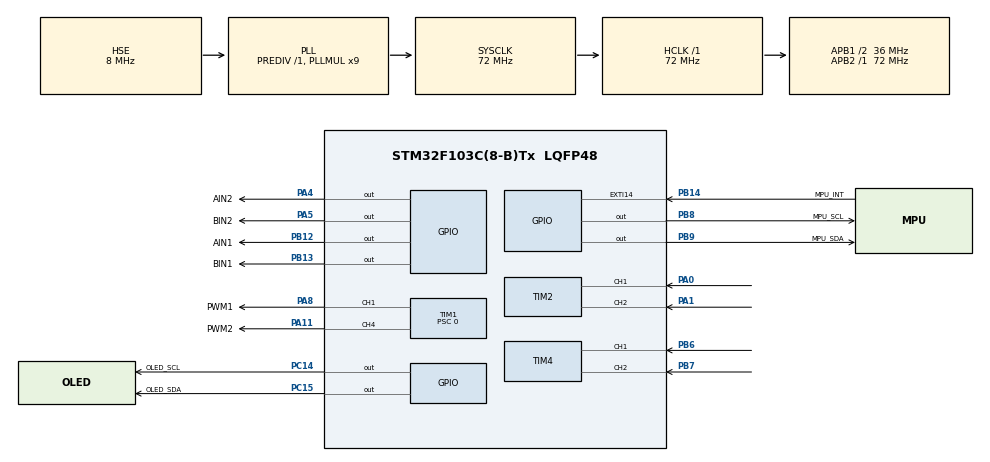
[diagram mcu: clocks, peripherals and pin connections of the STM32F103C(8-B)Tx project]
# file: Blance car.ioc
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Mcu.Family=STM32F1
Mcu.Name=STM32F103C(8-B)Tx
Mcu.Package=LQFP48
NVIC.EXTI15_10_IRQn=true\:0\:0\:false\:false\:true\:true\:true\:true
NVIC.PriorityGroup=NVIC_PRIORITYGROUP_4
PA0-WKUP.Signal=S_TIM2_CH1_ETR
PA1.Signal=S_TIM2_CH2
PA13.Mode=Serial_Wire
PA13.Signal=SYS_JTMS-SWDIO
PA14.Mode=Serial_Wire
PA14.Signal=SYS_JTCK-SWCLK
PA4.GPIO_Label=AIN2
PA4.Signal=GPIO_Output
PA5.GPIO_Label=BIN2
PA5.Signal=GPIO_Output
PA8.GPIO_Label=PWM1
PA8.Signal=S_TIM1_CH1
PA11.GPIO_Label=PWM2
PA11.Signal=S_TIM1_CH4
PB12.GPIO_Label=AIN1
PB12.Signal=GPIO_Output
PB13.GPIO_Label=BIN1
PB13.Signal=GPIO_Output
PB14.GPIO_Label=MPU_INT
PB14.GPIO_ModeDefaultEXTI=GPIO_MODE_IT_FALLING
PB14.GPIO_PuPd=GPIO_PULLUP
PB14.Signal=GPXTI14
PB6.Signal=S_TIM4_CH1
PB7.Signal=S_TIM4_CH2
PB8.GPIO_Label=MPU_SCL
PB8.GPIO_ModeDefaultOutputPP=GPIO_MODE_OUTPUT_OD
PB8.GPIO_PuPd=GPIO_PULLUP
PB8.GPIO_Speed=GPIO_SPEED_FREQ_HIGH
PB8.PinState=GPIO_PIN_SET
PB8.Signal=GPIO_Output
PB9.GPIO_Label=MPU_SDA
PB9.GPIO_ModeDefaultOutputPP=GPIO_MODE_OUTPUT_OD
PB9.GPIO_PuPd=GPIO_PULLUP
PB9.GPIO_Speed=GPIO_SPEED_FREQ_HIGH
PB9.PinState=GPIO_PIN_SET
PB9.Signal=GPIO_Output
PC14-OSC32_IN.GPIO_Label=OLED_SCL
PC14-OSC32_IN.GPIO_ModeDefaultOutputPP=GPIO_MODE_OUTPUT_OD
PC14-OSC32_IN.GPIO_PuPd=GPIO_NOPULL
PC14-OSC32_IN.GPIO_Speed=GPIO_SPEED_FREQ_LOW
PC14-OSC32_IN.PinState=GPIO_PIN_SET
PC14-OSC32_IN.Signal=GPIO_Output
PC15-OSC32_OUT.GPIO_Label=OLED_SDA
PC15-OSC32_OUT.GPIO_ModeDefaultOutputPP=GPIO_MODE_OUTPUT_OD
PC15-OSC32_OUT.GPIO_PuPd=GPIO_NOPULL
PC15-OSC32_OUT.GPIO_Speed=GPIO_SPEED_FREQ_LOW
PC15-OSC32_OUT.PinState=GPIO_PIN_SET
PC15-OSC32_OUT.Signal=GPIO_Output
PD0-OSC_IN.Mode=HSE-External-Oscillator
PD0-OSC_IN.Signal=RCC_OSC_IN
PD1-OSC_OUT.Mode=HSE-External-Oscillator
PD1-OSC_OUT.Signal=RCC_OSC_OUT
ProjectManager.HeapSize=0x200
ProjectManager.StackSize=0x400
ProjectManager.TargetToolchain=MDK-ARM V5.32
RCC.AHBFreq_Value=72000000
RCC.APB1CLKDivider=RCC_HCLK_DIV2
RCC.APB1Freq_Value=36000000
RCC.APB1TimFreq_Value=72000000
RCC.APB2Freq_Value=72000000
RCC.APB2TimFreq_Value=72000000
RCC.HCLKFreq_Value=72000000
RCC.PLLMUL=RCC_PLL_MUL9
RCC.PLLSourceVirtual=RCC_PLLSOURCE_HSE
RCC.SYSCLKFreq_VALUE=72000000
RCC.SYSCLKSource=RCC_SYSCLKSOURCE_PLLCLK
RCC.USBFreq_Value=72000000
SH.S_TIM1_CH1.0=TIM1_CH1,PWM Generation1 CH1
SH.S_TIM1_CH4.0=TIM1_CH4,PWM Generation4 CH4
SH.S_TIM2_CH1_ETR.0=TIM2_CH1,Encoder_Interface
SH.S_TIM2_CH2.0=TIM2_CH2,Encoder_Interface
SH.S_TIM4_CH1.0=TIM4_CH1,Encoder_Interface
SH.S_TIM4_CH2.0=TIM4_CH2,Encoder_Interface
TIM2.EncoderMode=TIM_ENCODERMODE_TI12
TIM1.Channel-PWM\ Generation1\ CH1=TIM_CHANNEL_1
TIM1.Channel-PWM\ Generation4\ CH4=TIM_CHANNEL_4
TIM1.Period=7199
TIM1.Prescaler=0
TIM4.EncoderMode=TIM_ENCODERMODE_TI12
VP_TIM1_VS_ClockSourceINT.Mode=Internal
board=custom

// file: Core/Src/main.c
/* USER CODE BEGIN Header */
/**
  ******************************************************************************
  * @file           : main.c
  * @brief          : Main program body
  ******************************************************************************
  * @attention
  *
  * Copyright (c) 2024 STMicroelectronics.
  * All rights reserved.
  *
  * This software is licensed under terms that can be found in the LICENSE file
  * in the root directory of this software component.
  * If no LICENSE file comes with this software, it is provided AS-IS.
  *
  ******************************************************************************
  */
/* USER CODE END Header */
#include "main.h"
#include "tim.h"
#include "gpio.h"

/* USER CODE BEGIN Includes */
#include "oled.h"
#include "IIC.h"
#include "inv_mpu.h"
#include "inv_mpu_dmp_motion_driver.h"
#include "mpu6050.h"
#include "stdio.h"
#include "motor.h"
#include "encoder.h"
#include "pid.h"
#include "bluetooth.h"
#include "camera_uart.h"
/* USER CODE END Includes */

/* USER CODE BEGIN PV */
/* 传感器、编码器和 DMP 状态变量由其他模块定义，这里只引用。 */
extern int Encoder_L,Encoder_R;
extern float pitch,roll,yaw;//陀螺仪
extern short gyrox,gyroy,gyroz;
extern short aacx,aacy,aacz;
extern volatile uint8_t dmp_read_error;
extern volatile unsigned char dmp_fw_error;
extern volatile unsigned short dmp_fw_error_addr;
extern volatile unsigned char dmp_fw_expected;
extern volatile unsigned char dmp_fw_actual;
extern volatile unsigned char mpu_init_error_stage;

/* OLED 显示缓冲区及 MPU6050 初始化结果。 */
uint8_t display_buf[32];
static volatile uint8_t control_ready;

uint32_t sys_tick;
extern uint8_t rx_buf[2];

//int Encoder_L,Encoder_R;
/* USER CODE END PV */

void SystemClock_Config(void);
/* USER CODE BEGIN PFP */
void Read(void);
/* USER CODE END PFP */

/* USER CODE BEGIN 0 */

static float OLED_LimitPidComponent(float value, float limit)
{
    /* 限制显示数值，避免异常 PID 参数撑满 OLED 显示区域。 */
    if (value > limit)
        return limit;
    if (value < -limit)
        return -limit;
    return value;
}

static void OLED_FormatPidComponent(char *text, float value, uint8_t decimals)
{
    int length;

    /* 每个数值占 6 个字符；较大数值减少小数位以保留符号和整数。 */
    while (1)
    {
        length = snprintf(text, 7U, "%6.*f", (int)decimals, value);
        if (length <= 6 || decimals == 0U)
            break;
        decimals--;
    }
}

static void OLED_ShowSmallLine(uint8_t page)
{
    uint8_t i = 0U;

    /* 6x8 字体每行显示 21 个字符，补空格覆盖上次的长数值。 */
    while (i < 21U && display_buf[i] != '\0')
        i++;
    while (i < 21U)
        display_buf[i++] = ' ';
    display_buf[21] = '\0';
    OLED_ShowString(0, page, display_buf, 8);
}

/* USER CODE END 0 */

int main(void)
{
    uint8_t mpu6050_Error_Return;
    char pid_p_text[7], pid_di_text[7];
    uint32_t oled_refresh_tick;

    /* MCU Configuration--------------------------------------------------------*/

    /* HAL 初始化：复位外设、配置 Flash 接口并启动 SysTick。 */
    HAL_Init();

    /* 配置系统时钟：外部高速时钟经 PLL 后得到 72 MHz 系统时钟。 */
    SystemClock_Config();

    /* 初始化 GPIO、PWM 定时器和左右轮编码器定时器。 */
    MX_GPIO_Init();
    MX_TIM2_Init();
    MX_TIM1_Init();
    MX_TIM4_Init();
    /* USER CODE BEGIN 2 */
    /* Keep communication independent of OLED/MPU initialization results. */
    if (Bluetooth_Init() != HAL_OK)
        Error_Handler();
    if (Camera_Init() != HAL_OK)
        Error_Handler();

    /* 初始化 OLED，并清屏准备显示运行状态。 */
    OLED_Init();
    OLED_Clear();

    /* 初始化 MPU6050，读取设备信息和校准/版本数据用于诊断。 */
    /* This call initializes I2C and the selected MPU before enabling DMP. */
    mpu6050_Error_Return = mpu_dmp_init();
    if (mpu6050_Error_Return != 0U)
    {
        Load(0, 0);
        OLED_Clear();
        snprintf((char *)display_buf, sizeof(display_buf), "MPU ERR:%u", mpu6050_Error_Return);
        OLED_ShowSmallLine(0);
        snprintf((char *)display_buf, sizeof(display_buf), "STAGE:%u", mpu_init_error_stage);
        OLED_ShowSmallLine(1);

        /* Do not start motor PWM without valid attitude feedback. */
        while (1)
            Bluetooth_Delay(100U);
    }

    /* 启动电机 PWM 和左右轮编码器采集。 */
    HAL_TIM_PWM_Start(&htim1,TIM_CHANNEL_1);
    HAL_TIM_PWM_Start(&htim1,TIM_CHANNEL_4);
    HAL_TIM_Encoder_Start(&htim2,TIM_CHANNEL_ALL);
    HAL_TIM_Encoder_Start(&htim4,TIM_CHANNEL_ALL);
    /* 上电时保持电机停止，避免初始化完成瞬间误动作。 */
    Load(0,0);
    control_ready = 1U;
    OLED_Clear();

    /* USER CODE END 2 */

    oled_refresh_tick = HAL_GetTick() - 100U;

    /* Infinite loop */
    /* USER CODE BEGIN WHILE */
    while (1)
    {
        Bluetooth_Process();
        /* Schedule at most 10 display frames/s; keep servicing Bluetooth while idle. */
        if (HAL_GetTick() - oled_refresh_tick < 100U)
        {
            HAL_Delay(1U);
            continue;
        }
        oled_refresh_tick = HAL_GetTick();
        /* 小字体显示原有 PID 实时分量、倾角和左右编码器计数。 */
        OLED_FormatPidComponent(pid_p_text,
                OLED_LimitPidComponent(Vertical_Kp_Component, 9999.9f), 1);
        OLED_FormatPidComponent(pid_di_text,
                OLED_LimitPidComponent(Vertical_Kd_Component, 9999.9f), 1);
        snprintf((char *)display_buf, sizeof(display_buf), "ver P:%s D:%s",
                pid_p_text, pid_di_text);
        OLED_ShowSmallLine(0);

        Bluetooth_Process();

        OLED_FormatPidComponent(pid_p_text,
                OLED_LimitPidComponent(Velocity_Kp_Component, 999.99f), 3);
        OLED_FormatPidComponent(pid_di_text,
                OLED_LimitPidComponent(Velocity_Ki_Component, 999.99f), 3);
        snprintf((char *)display_buf, sizeof(display_buf), "vel P:%s I:%s",
                pid_p_text, pid_di_text);
        OLED_ShowSmallLine(1);
        Bluetooth_Process();
        snprintf((char *)display_buf, sizeof(display_buf), "pitch:%.2f", pitch);
        OLED_ShowSmallLine(2);
        Bluetooth_Process();

        snprintf((char *)display_buf, sizeof(display_buf), "EL:%6d ER:%6d", Encoder_L, Encoder_R);
        OLED_ShowSmallLine(3);
        Bluetooth_Process();
        snprintf((char *)display_buf, sizeof(display_buf), "Turn:%5d GZ:%6d", Turn_out, gyroz);
        OLED_ShowSmallLine(4);
        Bluetooth_Process();
        snprintf((char *)display_buf, sizeof(display_buf), "%s",
                tilt_stop_latched ? "TILT STOP:RESET" : "Tilt:OK");
        OLED_ShowSmallLine(5);
        Bluetooth_Process();
        snprintf((char *)display_buf, sizeof(display_buf), "CAM E:%4d V:%u M:%u",
                Camera_Error, Camera_Valid, Camera_Enabled);
        OLED_ShowSmallLine(6);
        Bluetooth_Process();
        snprintf((char *)display_buf, sizeof(display_buf), "CAM F:%lu B:%lu",
                (unsigned long)Camera_FrameCount, (unsigned long)Camera_BadFrames);
        OLED_ShowSmallLine(7);

        /* 实际平衡控制仍由 MPU 外部中断回调触发。 */

//        sprintf((char *)display_buf,
//                "D:%u C:%u E:%u ",
//                (unsigned int)mpu6050_Error_Return,
//                (unsigned int)mpu_init_error_stage,
//                (unsigned int)dmp_fw_error);
//        OLED_ShowString(0, 4, display_buf, 16);

//        sprintf((char *)display_buf,
//                "A:%04X %02X/%02X ",
//                (unsigned int)dmp_fw_error_addr,
//                (unsigned int)dmp_fw_expected,
//                (unsigned int)dmp_fw_actual);
//        OLED_ShowString(0, 6, display_buf, 16);

//        sprintf((char *)display_buf, "I:%u R:%u      ",
//                (unsigned int)mpu6050_Error_Return,
//                (unsigned int)dmp_read_error);
//        OLED_ShowString(0,0,display_buf,16);

//        sprintf((char *)display_buf,"P:%7.2f     ",pitch);
//        OLED_ShowString(0,2,display_buf,16);
//        sprintf((char *)display_buf,"R:%7.2f     ",roll);
//        OLED_ShowString(0,4,display_buf,16);
//        sprintf((char *)display_buf,"Y:%7.2f     ",yaw);
//        OLED_ShowString(0,6,display_buf,16);

        /* USER CODE END WHILE */

    }
}

void SystemClock_Config(void)
{
    RCC_OscInitTypeDef RCC_OscInitStruct = {0};
    RCC_ClkInitTypeDef RCC_ClkInitStruct = {0};

    /** Initializes the RCC Oscillators according to the specified parameters
    * in the RCC_OscInitTypeDef structure.
    */
    RCC_OscInitStruct.OscillatorType = RCC_OSCILLATORTYPE_HSE | RCC_OSCILLATORTYPE_LSE;
    RCC_OscInitStruct.HSEState = RCC_HSE_ON;
    RCC_OscInitStruct.LSEState = RCC_LSE_OFF; /* PC14/PC15 are OLED GPIO, not LSE. */
    RCC_OscInitStruct.HSEPredivValue = RCC_HSE_PREDIV_DIV1;
    RCC_OscInitStruct.HSIState = RCC_HSI_ON;
    RCC_OscInitStruct.PLL.PLLState = RCC_PLL_ON;
    RCC_OscInitStruct.PLL.PLLSource = RCC_PLLSOURCE_HSE;
    RCC_OscInitStruct.PLL.PLLMUL = RCC_PLL_MUL9;
    if (HAL_RCC_OscConfig(&RCC_OscInitStruct) != HAL_OK)
    {
        Error_Handler();
    }

    /* 配置 CPU、AHB 和 APB 总线分频。 */
    RCC_ClkInitStruct.ClockType = RCC_CLOCKTYPE_HCLK|RCC_CLOCKTYPE_SYSCLK
                                  |RCC_CLOCKTYPE_PCLK1|RCC_CLOCKTYPE_PCLK2;
    RCC_ClkInitStruct.SYSCLKSource = RCC_SYSCLKSOURCE_PLLCLK;
    RCC_ClkInitStruct.AHBCLKDivider = RCC_SYSCLK_DIV1;
    RCC_ClkInitStruct.APB1CLKDivider = RCC_HCLK_DIV2;
    RCC_ClkInitStruct.APB2CLKDivider = RCC_HCLK_DIV1;

    if (HAL_RCC_ClockConfig(&RCC_ClkInitStruct, FLASH_LATENCY_2) != HAL_OK)
    {
        Error_Handler();
    }
}

/* USER CODE BEGIN 4 */
void HAL_GPIO_EXTI_Callback(uint16_t GPIO_Pin)
{
    /* Do not read the MPU bus or drive motors from an IRQ during initialization. */
    if(GPIO_Pin==GPIO_PIN_14 && control_ready != 0U)
        control();
}

/* USER CODE END 4 */

void Error_Handler(void)
{
    __disable_irq();
    while (1)
    {
    }
}
